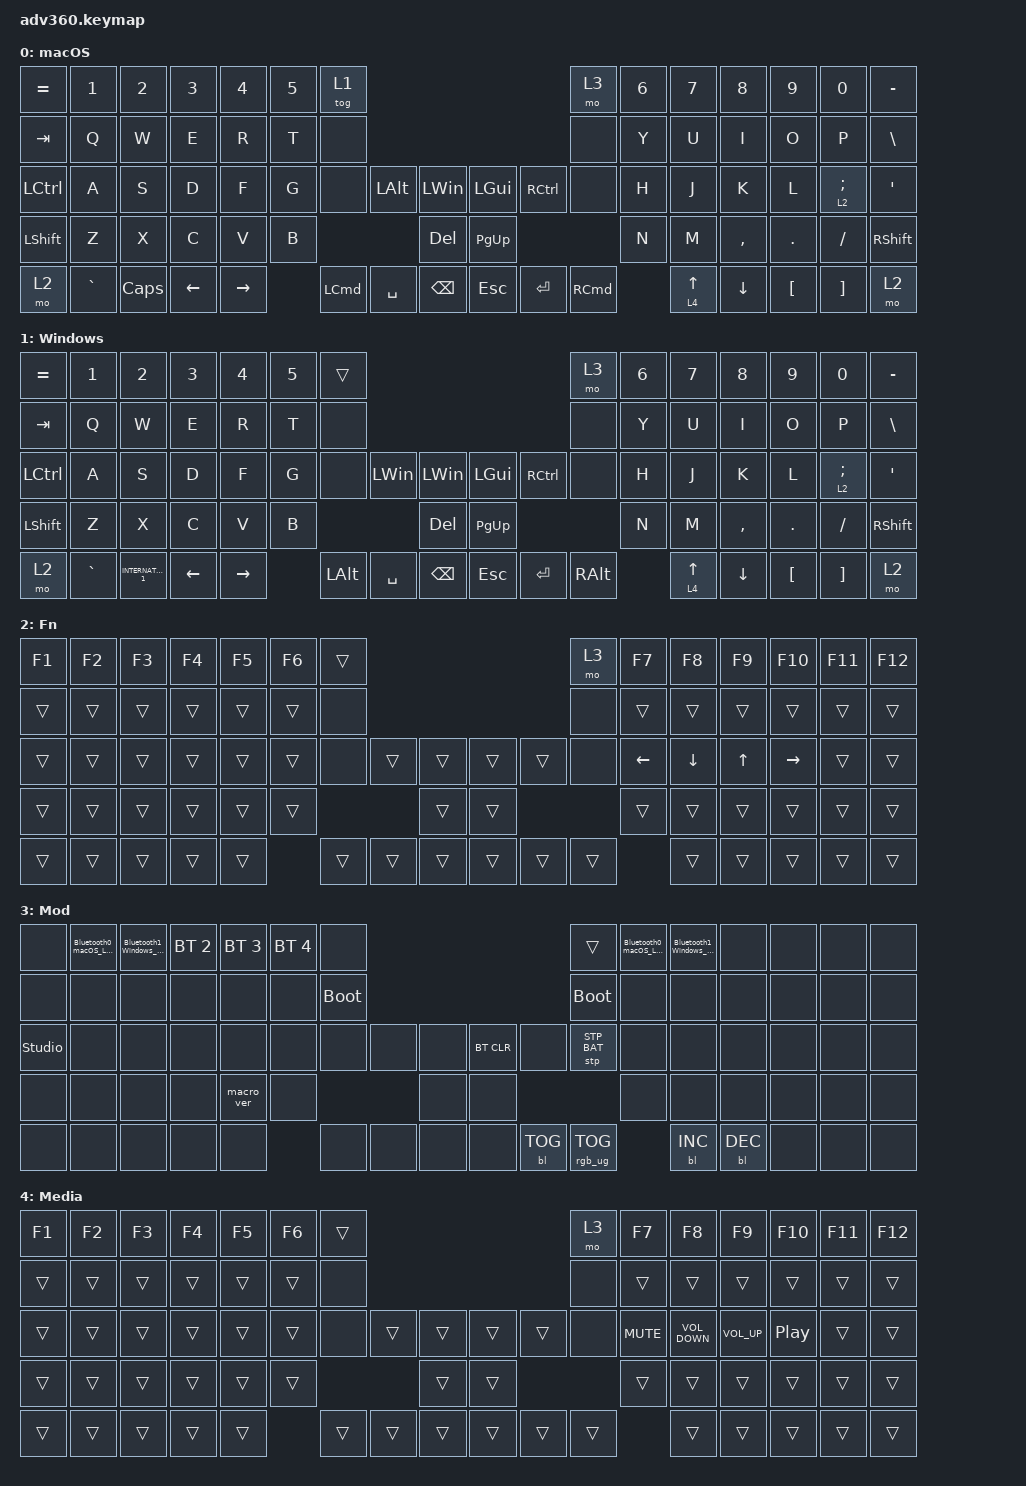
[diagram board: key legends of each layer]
#include <dt-bindings/zmk/stp.h>
#include <behaviors.dtsi>
#include <dt-bindings/zmk/backlight.h>
#include <dt-bindings/zmk/bt.h>
#include <dt-bindings/zmk/keys.h>
#include <dt-bindings/zmk/rgb.h>

/ {
    behaviors {
        #include "macros.dtsi"
      #include "version.dtsi"

        hm: homerow_mods {
            compatible = "zmk,behavior-hold-tap";
            label = "HOMEROW_MODS";
            #binding-cells = <2>;
            tapping-term-ms = <200>;
            quick_tap_ms = <175>;
            flavor = "tap-preferred";
            bindings = <&kp>, <&kp>;
        };
    };

    macros {
        Bluetooth0_macOS_Layer: Bluetooth0_macOS_Layer {
            compatible = "zmk,behavior-macro";
            #binding-cells = <0>;
            bindings = <&bt BT_SEL 0 &to 0>;
            label = "BLUETOOTH0_MACOS_LAYER";
        };

        Bluetooth1_Windows_Layer: Bluetooth1_Windows_Layer {
            compatible = "zmk,behavior-macro";
            #binding-cells = <0>;
            bindings = <&bt BT_SEL 1 &to 1>;
            label = "BLUETOOTH1_WINDOWS_LAYER";
        };
    };

    keymap {
        compatible = "zmk,keymap";

        macOS {
            display-name = "macOS";
            bindings = <
&kp EQUAL  &kp N1     &kp N2    &kp N3    &kp N4     &kp N5  &tog 1                                                                    &mo 3              &kp N6  &kp N7          &kp N8     &kp N9    &kp N0           &kp MINUS
&kp TAB    &kp Q      &kp W     &kp E     &kp R      &kp T   &none                                                                     &none              &kp Y   &kp U           &kp I      &kp O     &kp P            &kp BSLH
&kp LCTRL  &kp A      &kp S     &kp D     &kp F      &kp G   &none             &kp LEFT_ALT  &kp LEFT_WIN       &kp LGUI    &kp RCTRL  &none              &kp H   &kp J           &kp K      &kp L     &lt 2 SEMICOLON  &kp SQT
&kp LSHFT  &kp Z      &kp X     &kp C     &kp V      &kp B                                   &kp DELETE         &kp PG_UP                                 &kp N   &kp M           &kp COMMA  &kp DOT   &kp FSLH         &kp RSHFT
&mo 2      &kp GRAVE  &kp CAPS  &kp LEFT  &kp RIGHT          &kp LEFT_COMMAND  &kp SPACE     &kp BACKSPACE      &kp ESCAPE  &kp ENTER  &kp RIGHT_COMMAND          &lt 4 UP_ARROW  &kp DOWN   &kp LBKT  &kp RBKT         &mo 2
            >;
        };

        Windows {
            display-name = "Windows";
            bindings = <
&kp EQUAL  &kp N1     &kp N2               &kp N3    &kp N4     &kp N5  &trans                                                             &mo 3     &kp N6  &kp N7          &kp N8     &kp N9    &kp N0           &kp MINUS
&kp TAB    &kp Q      &kp W                &kp E     &kp R      &kp T   &none                                                              &none     &kp Y   &kp U           &kp I      &kp O     &kp P            &kp BSLH
&kp LCTRL  &kp A      &kp S                &kp D     &kp F      &kp G   &none         &kp LWIN   &kp LEFT_WIN       &kp LGUI    &kp RCTRL  &none     &kp H   &kp J           &kp K      &kp L     &lt 2 SEMICOLON  &kp SQT
&kp LSHFT  &kp Z      &kp X                &kp C     &kp V      &kp B                            &kp DELETE         &kp PG_UP                        &kp N   &kp M           &kp COMMA  &kp DOT   &kp FSLH         &kp RSHFT
&mo 2      &kp GRAVE  &kp INTERNATIONAL_1  &kp LEFT  &kp RIGHT          &kp LEFT_ALT  &kp SPACE  &kp BACKSPACE      &kp ESCAPE  &kp ENTER  &kp RALT          &lt 4 UP_ARROW  &kp DOWN   &kp LBKT  &kp RBKT         &mo 2
            >;
        };

        fn {
            display-name = "Fn";
            bindings = <
&kp F1  &kp F2  &kp F3  &kp F4  &kp F5  &kp F6  &trans                                      &mo 3   &kp F7          &kp F8          &kp F9        &kp F10          &kp F11  &kp F12
&trans  &trans  &trans  &trans  &trans  &trans  &none                                       &none   &trans          &trans          &trans        &trans           &trans   &trans
&trans  &trans  &trans  &trans  &trans  &trans  &none   &trans  &trans      &trans  &trans  &none   &kp LEFT_ARROW  &kp DOWN_ARROW  &kp UP_ARROW  &kp RIGHT_ARROW  &trans   &trans
&trans  &trans  &trans  &trans  &trans  &trans                  &trans      &trans                  &trans          &trans          &trans        &trans           &trans   &trans
&trans  &trans  &trans  &trans  &trans          &trans  &trans  &trans      &trans  &trans  &trans                  &trans          &trans        &trans           &trans   &trans
            >;
        };

        mod {
            display-name = "Mod";
            bindings = <
&none           &Bluetooth0_macOS_Layer  &Bluetooth1_Windows_Layer  &bt BT_SEL 2  &bt BT_SEL 3  &bt BT_SEL 4  &none                                                  &trans           &Bluetooth0_macOS_Layer  &Bluetooth1_Windows_Layer  &none       &none  &none  &none
&none           &none                    &none                      &none         &none         &none         &bootloader                                            &bootloader      &none                    &none                      &none       &none  &none  &none
&studio_unlock  &none                    &none                      &none         &none         &none         &none        &none  &none      &bt BT_CLR  &none       &stp STP_BAT     &none                    &none                      &none       &none  &none  &none
&none           &none                    &none                      &none         &macro_ver    &none                             &none      &none                                    &none                    &none                      &none       &none  &none  &none
&none           &none                    &none                      &none         &none                       &none        &none  &none      &none       &bl BL_TOG  &rgb_ug RGB_TOG                           &bl BL_INC                 &bl BL_DEC  &none  &none  &none
            >;
        };

        Media {
            display-name = "Media";
            bindings = <
&kp F1  &kp F2  &kp F3  &kp F4  &kp F5  &kp F6  &trans                                      &mo 3   &kp F7      &kp F8             &kp F9           &kp F10           &kp F11  &kp F12
&trans  &trans  &trans  &trans  &trans  &trans  &none                                       &none   &trans      &trans             &trans           &trans            &trans   &trans
&trans  &trans  &trans  &trans  &trans  &trans  &none   &trans  &trans      &trans  &trans  &none   &kp K_MUTE  &kp C_VOLUME_DOWN  &kp C_VOLUME_UP  &kp C_PLAY_PAUSE  &trans   &trans
&trans  &trans  &trans  &trans  &trans  &trans                  &trans      &trans                  &trans      &trans             &trans           &trans            &trans   &trans
&trans  &trans  &trans  &trans  &trans          &trans  &trans  &trans      &trans  &trans  &trans              &trans             &trans           &trans            &trans   &trans
            >;
        };

        extra2 {
            display-name = "Purple";
            status = "reserved";
        };

        extra3 {
            display-name = "Cyan";
            status = "reserved";
        };

        extra4 {
            display-name = "Yellow";
            status = "reserved";
        };
    };
};
